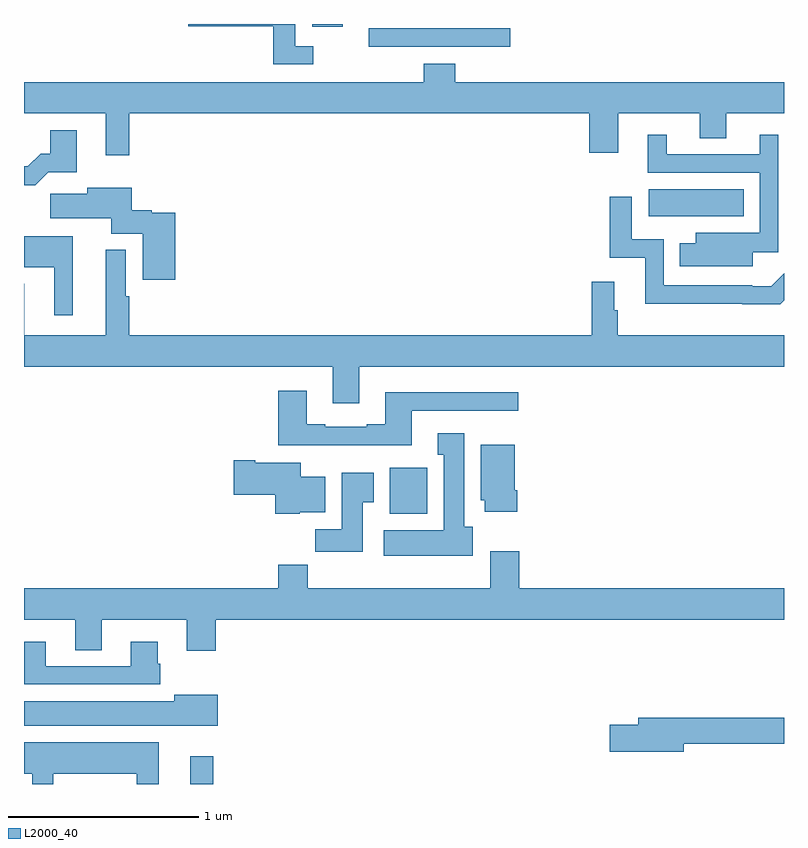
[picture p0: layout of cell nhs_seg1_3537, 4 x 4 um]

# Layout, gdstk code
import gdstk
lib = gdstk.Library(unit=1e-6, precision=1e-09)
def R(c, l, rs):  # rectangles x0, y0, x1, y1
    for r in rs: c.add(gdstk.rectangle(r[:2], r[2:], *l))
def P(c, l, *ps):  # polygons
    for p in ps: c.add(gdstk.Polygon(p, *l))
L2000_40 = (2000, 40)

nhs_seg1_3537 = lib.new_cell('nhs_seg1_3537')
R(nhs_seg1_3537, L2000_40, [(303.875,552.199,303.997,552.346), (304.925,553.622,305.122,553.864), (306.288,555.188,306.788,555.328), (304.815,556.08,305.56,556.176), (304.517,556.185,304.678,556.199)])
P(nhs_seg1_3537, L2000_40, [(304.522,556.083),(304.428,556.083),(304.428,556.199),(303.864,556.199),(303.864,556.186),(304.312,556.186),(304.312,555.987),(304.522,555.987)],
  [(303.553,555.728),(305.975,555.728),(305.975,555.522),(306.127,555.522),(306.127,555.728),(306.557,555.728),(306.557,555.598),(306.697,555.598),(306.697,555.728),(307,555.728),(307,555.892),(305.27,555.892),(305.27,555.991),(305.105,555.991),(305.105,555.892),(303,555.892),(303,555.728),(303.431,555.728),(303.431,555.507),(303.553,555.507)],
  [(303.128,555.419),(303.277,555.419),(303.277,555.64),(303.137,555.64),(303.137,555.517),(303.088,555.517),(303.021,555.45),(303,555.45),(303,555.35),(303.059,555.35)],
  [(306.835,554.997),(306.969,554.997),(306.969,555.616),(306.872,555.616),(306.872,555.513),(306.382,555.513),(306.382,555.616),(306.284,555.616),(306.284,555.417),(306.873,555.417),(306.873,555.1),(306.536,555.1),(306.536,555.046),(306.451,555.046),(306.451,554.924),(306.835,554.924)],
  [(303.797,555.205),(303.672,555.205),(303.672,555.218),(303.568,555.218),(303.568,555.337),(303.332,555.337),(303.332,555.305),(303.138,555.305),(303.138,555.176),(303.458,555.176),(303.458,555.095),(303.626,555.095),(303.626,554.853),(303.797,554.853)],
  [(307,554.744),(307,554.887),(306.933,554.82),(306.833,554.82),(306.833,554.823),(306.366,554.823),(306.366,555.066),(306.198,555.066),(306.198,555.289),(306.082,555.289),(306.082,554.97),(306.269,554.97),(306.269,554.726),(306.781,554.726),(306.781,554.724),(306.98,554.724)],
  [(303.256,555.082),(303,555.082),(303,554.918),(303.158,554.918),(303.158,554.667),(303.256,554.667)],
  [(304.765,554.396),(307,554.396),(307,554.56),(306.125,554.56),(306.125,554.693),(306.106,554.693),(306.106,554.842),(305.989,554.842),(305.989,554.56),(303.553,554.56),(303.553,554.765),(303.535,554.765),(303.535,555.01),(303.431,555.01),(303.431,554.56),(303.001,554.56),(303.001,554.833),(303,554.833),(303,554.396),(304.625,554.396),(304.625,554.202),(304.765,554.202)],
  [(305.041,554.163),(305.602,554.163),(305.602,554.26),(304.901,554.26),(304.901,554.092),(304.805,554.092),(304.805,554.079),(304.585,554.079),(304.585,554.092),(304.489,554.092),(304.489,554.269),(304.337,554.269),(304.337,553.982),(305.041,553.982)],
  [(305.362,553.554),(305.317,553.554),(305.317,554.044),(305.177,554.044),(305.177,553.931),(305.21,553.931),(305.21,553.534),(304.893,553.534),(304.893,553.4),(305.362,553.4)],
  [(305.597,553.744),(305.584,553.744),(305.584,553.984),(305.405,553.984),(305.405,553.692),(305.426,553.692),(305.426,553.632),(305.597,553.632)],
  [(304.452,553.628),(304.585,553.628),(304.585,553.816),(304.456,553.816),(304.456,553.891),(304.216,553.891),(304.216,553.904),(304.104,553.904),(304.104,553.721),(304.322,553.721),(304.322,553.622),(304.452,553.622)],
  [(304.783,553.681),(304.84,553.681),(304.84,553.837),(304.673,553.837),(304.673,553.54),(304.534,553.54),(304.534,553.422),(304.783,553.422)],
  [(304.01,553.064),(307,553.064),(307,553.228),(305.606,553.228),(305.606,553.423),(305.453,553.423),(305.453,553.228),(304.493,553.228),(304.493,553.352),(304.337,553.352),(304.337,553.228),(303,553.228),(303,553.064),(303.269,553.064),(303.269,552.904),(303.409,552.904),(303.409,553.064),(303.857,553.064),(303.857,552.9),(304.01,552.9)],
  [(303.716,552.831),(303.703,552.831),(303.703,552.949),(303.563,552.949),(303.563,552.819),(303.115,552.819),(303.115,552.949),(303,552.949),(303,552.723),(303.716,552.723)],
  [(304.021,552.67),(303.791,552.67),(303.791,552.634),(303,552.634),(303,552.506),(304.021,552.506)],
  [(306.472,552.412),(307,552.412),(307,552.548),(306.233,552.548),(306.233,552.512),(306.084,552.512),(306.084,552.37),(306.472,552.37)],
  [(303.154,552.254),(303.593,552.254),(303.593,552.199),(303.709,552.199),(303.709,552.418),(303,552.418),(303,552.254),(303.044,552.254),(303.044,552.199),(303.154,552.199)])

lib.write_gds('nhs_seg1_3537.gds')
